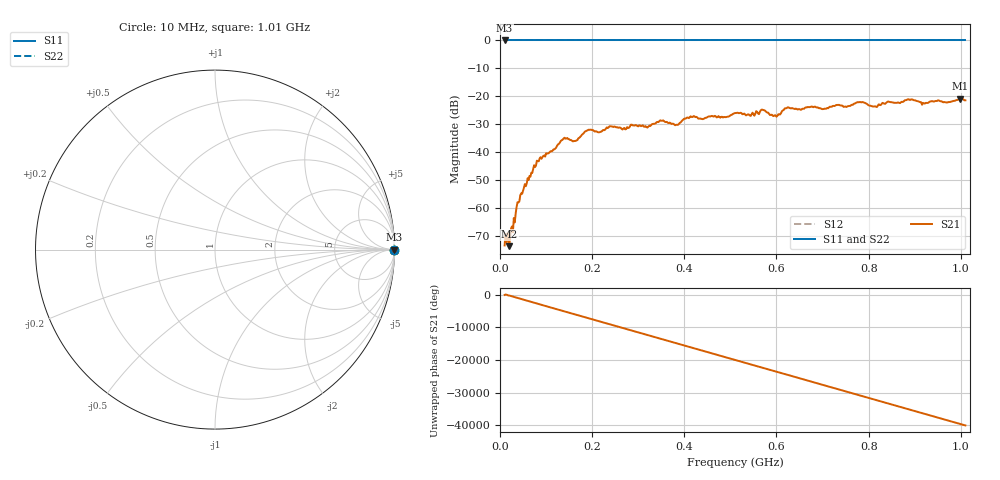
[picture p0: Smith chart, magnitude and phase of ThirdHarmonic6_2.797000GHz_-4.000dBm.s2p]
! 8/17/2025 7:15:52 AM
! C:\ANRITSUVNA\TEMP\TEMP.S2P
! CHANNEL.1
! TR.MEASUREMENT
! RAW.DATA
! RF.CORRECTION.OFF
! AVERAGING.OFF
! IF.BANDWIDTH: 5KHZ
! SWEEPTYPE:  FREQ.SWEEP(Linear)
! Reference Plane Port Info
! PORT:  PORT1  PORT2
! DISTANCE:  0  m  0  m
! TIME:  0  s  0  s
! PHASE.OFFSET:  0  deg.  0  deg.
! LOSS:  0  dB  0  dB
! REF.LOSS:  0  dB  0  dB
! REF.FREQ:  0  Hz  0  Hz
! Power Info
! POWER:  -20  dBm  -20  dBm
! EFF.POWER:  -20  dBm  -20  dBm
! SOURCE.ATTEN:  0  dB  0  dB
! TEST.ATTEN:  0  dB  0  dB
# GHZ S RI R 50.0
! FREQ.GHZ  S11RE  S11IM  S21RE  S21IM  S12RE  S12IM  S22RE  S22IM
!; PortSelection: Port_12
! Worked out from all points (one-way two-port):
!   501 points, 10 MHz to 1.01 GHz, reference 50 ohm
!   highest |S21| = -20.84 dB at 998 MHz (marker M1); lowest = -73.7 dB at 20 MHz (marker M2)
!   lowest |S11| = 0.0 dB at 10 MHz (marker M3)
!   |S11| at or under -10 dB: nowhere
!   |S22| runs from 0.0 to 0.0 dB; largest |S21 - S12| = 1.1
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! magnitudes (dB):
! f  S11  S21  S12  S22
! 10 MHz  0.0  -73.4  0.0  0.0
! 20 MHz  0.0  -73.7  0.0  0.0
! 24 MHz  0.0  -67.3  0.0  0.0
! 42 MHz  0.0  -57.7  0.0  0.0
! 84 MHz  0.0  -43.3  0.0  0.0
! 136 MHz  0.0  -35.5  0.0  0.0
! 162 MHz  0.0  -36.0  0.0  0.0
! 178 MHz  0.0  -33.7  0.0  0.0
! 194 MHz  0.0  -32.0  0.0  0.0
! 344 MHz  0.0  -29.2  0.0  0.0
! 384 MHz  0.0  -30.2  0.0  0.0
! 416 MHz  0.0  -27.4  0.0  0.0
! 510 MHz  0.0  -26.0  0.0  0.0
! 570 MHz  0.0  -24.8  0.0  0.0
! 598 MHz  0.0  -26.8  0.0  0.0
! 622 MHz  0.0  -24.3  0.0  0.0
! 678 MHz  0.0  -23.7  0.0  0.0
! 784 MHz  0.0  -22.2  0.0  0.0
! 814 MHz  0.0  -23.6  0.0  0.0
! 844 MHz  0.0  -22.0  0.0  0.0
! 998 MHz  0.0  -20.8  0.0  0.0
! 1.01 GHz  0.0  -21.5  0.0  0.0
